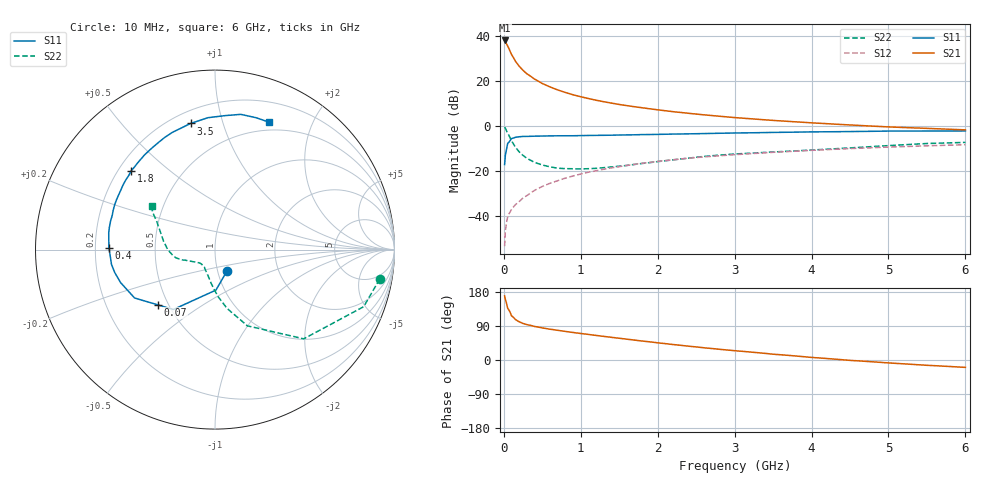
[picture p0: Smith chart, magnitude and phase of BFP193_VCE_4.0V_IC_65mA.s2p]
! Infineon Technologies  Discrete & RF Semiconductors
! BFP193
! VCE =  4.0 V,  IC =  65 mA
! Common Emitter S-Parameters:  Jan 2017
# GHz  S  MA  R  50
!  f  S11  S21  S12  S22
! GHz  MAG  ANG  MAG  ANG  MAG  ANG  MAG  ANG
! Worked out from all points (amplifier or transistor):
!   77 points, 10 MHz to 6 GHz, reference 50 ohm
!   highest |S21| = 38.0 dB at 10 MHz (marker M1)
!   |S21| within 3 dB of that: start of sweep to 57.03 MHz
!   unconditionally stable (mu >= 1): 486.5 MHz to 2.362 GHz
!   at 130 MHz: K = 0.69, MSG = 33.0 dB, |S12| = -35.9 dB
!   at 2.2 GHz: K = 1.01, MAG = 10.2 dB, |S12| = -15.1 dB
!   at 6 GHz: K = 0.93, MSG = 3.3 dB, |S12| = -8.4 dB
!   S11 on the Smith chart (normalised r, x): 10 MHz: 1.10, -0.27; 70 MHz: 0.44, -0.34; 400 MHz: 0.26, +0.01; 1.8 GHz: 0.25, +0.37; 3.5 GHz: 0.27, +0.79; 6 GHz: 0.41, +1.43
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0.01  0.1379 -61.6  79.83 169.3  0.0021 81.4  0.9326 -10.1
0.02  0.2258 -88.7  76.9 159.6  0.0047 84.8  0.8873 -21.0
0.05  0.4063 -124.8  59.79 136.4  0.0094 64.9  0.7007 -45.2
0.07  0.443 -136.0  50.73 130.4  0.0112 63.5  0.5958 -51.8
0.1  0.5231 -149.0  38.77 116.5  0.0138 62.1  0.4615 -67.0
0.15  0.5571 -160.7  27.62 106.8  0.0176 60.2  0.3347 -78.4
0.2  0.573 -167.1  21.26 100.8  0.0207 64.7  0.2639 -86.1
0.25  0.5826 -171.9  17.22 96.4  0.0249 66.1  0.2198 -91.5
0.3  0.5838 -175.4  14.44 93.4  0.0281 67.0  0.189 -96.5
0.4  0.5908 179.3  10.97 88.5  0.0367 69.5  0.1537 -104.1
0.5  0.5942 174.8  8.795 84.7  0.0448 70.5  0.1346 -110.6
0.7  0.6016 168.0  6.323 78.4  0.0602 70.3  0.1142 -121.2
0.9  0.6034 161.7  4.929 72.6  0.0767 68.8  0.1111 -129.4
1.1  0.6123 155.9  4.062 67.5  0.0931 67.4  0.1115 -135.9
1.4  0.621 147.5  3.217 59.8  0.1167 64.1  0.122 -144.7
1.8  0.6408 136.8  2.531 50.0  0.1475 58.8  0.1458 -153.3
2.1  0.6518 129.2  2.174 43.2  0.1691 54.9  0.1677 -158.6
3.1  0.698 108.1  1.488 22.9  0.2342 41.7  0.2415 -173.6
3.5  0.716 100.9  1.325 15.3  0.258 37.2  0.2627 -179.8
4.1  0.7374 91.6  1.145 5.4  0.2907 29.7  0.2963 168.7
5.1  0.7668 77.9  0.935 -8.9  0.3418 18.0  0.3721 152.7
6  0.7711 66.9  0.816 -19.5  0.3814 7.9  0.4293 145.2
